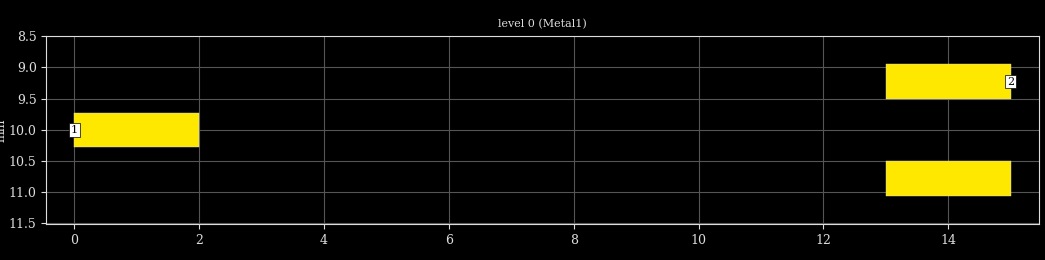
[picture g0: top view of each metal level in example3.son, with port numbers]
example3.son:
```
FTYP SONPROJ 19 ! Sonnet Project File
VER 18.53
HEADER
LIC SL627ff946
DAT 05/19/2022 20:21:24
BUILT_BY_CREATED xgeom 18.53-Lite 05/17/2022 13:27:44
BUILT_BY_SAVED sonnet 18.53-Lite
MDATE 05/19/2022 20:21:24
HDATE 05/19/2022 20:21:24
END HEADER
DIM
ANG DEG
CAP PF
CON /OH
FREQ GHZ
IND NH
LNG MM
RES OH
END DIM
CONTROL
VARSWP
OPTIONS  -d
SPEED 0
CACHE_ABS 2
Q_ACC N
END CONTROL
GEO
TMET "Lossless" 0 SUP 0 0 0 0
BMET "Lossless" 0 SUP 0 0 0 0
MET "Copper" 1 NOR 58000000 0.5 0.035 
BOX 1 15 20 1200 1600 20 0
      30 1 1 0 0 0 0 "Air"
      0.254 3.66 1 0.0037 0 0 0 "Rogers RO4350B"
TECHLAY METAL Metal1 <UNSPECIFIED> -2 -65534 
0 0 0 N 206 1 1 100 100 0 0 0 Y
END
END
LORGN 0 20 U 
POR1 BOX
POLY 39 1
3
1 50 0 0 0 -1.110223025e-16 10.003 
POR1 BOX
POLY 190 1
1
2 50 0 0 0 15 9.228 
NUM 3
0 5 0 N 39 1 1 100 100 0 0 0 Y
TLAYNAM Metal1 INH
-1.110223025e-16 9.723
2 9.723
2 10.283
-1.110223025e-16 10.283
-1.110223025e-16 9.723
END
0 5 0 N 190 1 1 100 100 0 0 0 Y
TLAYNAM Metal1 INH
13 8.948
15 8.948
15 9.508
13 9.508
13 8.948
END
0 5 0 N 196 1 1 100 100 0 0 0 Y
TLAYNAM Metal1 INH
13 10.498
15 10.498
15 11.058
13 11.058
13 10.498
END
END GEO
OPT
MAX 100
END OPT
VARSWP
ENABLED Y
END
END VARSWP
```
